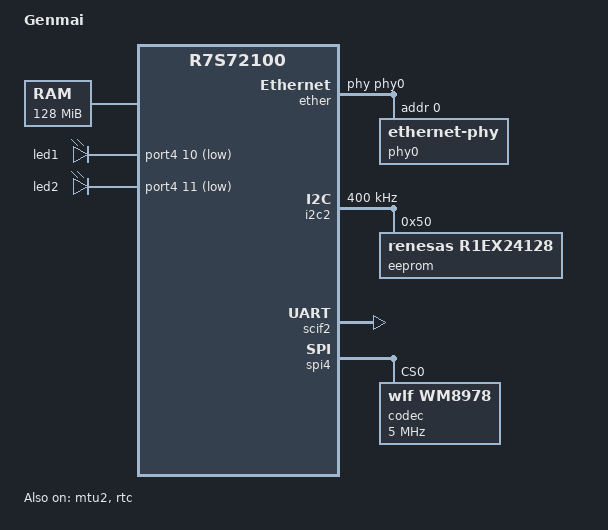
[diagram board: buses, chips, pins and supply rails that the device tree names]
/*
 * Device Tree Source for the Genmai board
 *
 * Copyright (C) 2013-14 Renesas Solutions Corp.
 * Copyright (C) 2014 Wolfram Sang, Sang Engineering <wsa@sang-engineering.com>
 *
 * This file is licensed under the terms of the GNU General Public License
 * version 2.  This program is licensed "as is" without any warranty of any
 * kind, whether express or implied.
 */

/dts-v1/;
#include "r7s72100.dtsi"
#include <dt-bindings/gpio/gpio.h>
#include <dt-bindings/pinctrl/r7s72100-pinctrl.h>

/ {
	model = "Genmai";
	compatible = "renesas,genmai", "renesas,r7s72100";

	aliases {
		serial0 = &scif2;
	};

	chosen {
		bootargs = "ignore_loglevel rw root=/dev/nfs ip=dhcp";
		stdout-path = "serial0:115200n8";
	};

	memory@8000000 {
		device_type = "memory";
		reg = <0x08000000 0x08000000>;
	};

	lbsc {
		#address-cells = <1>;
		#size-cells = <1>;
	};

	leds {
		status = "okay";
		compatible = "gpio-leds";

		led1 {
			gpios = <&port4 10 GPIO_ACTIVE_LOW>;
		};

		led2 {
			gpios = <&port4 11 GPIO_ACTIVE_LOW>;
		};
	};
};

&pinctrl {

	scif2_pins: serial2 {
		/* P3_0 as TxD2; P3_2 as RxD2 */
		pinmux = <RZA1_PINMUX(3, 0, 6)>, <RZA1_PINMUX(3, 2, 4)>;
	};

	i2c2_pins: i2c2 {
		/* RIIC2: P1_4 as SCL, P1_5 as SDA */
		pinmux = <RZA1_PINMUX(1, 4, 1)>, <RZA1_PINMUX(1, 5, 1)>;
	};

	ether_pins: ether {
		/* Ethernet on Ports 1,2,3,5 */
		pinmux = <RZA1_PINMUX(1, 14, 4)>,/* P1_14 = ET_COL  */
			 <RZA1_PINMUX(5, 9, 2)>, /* P5_9 = ET_MDC   */
			 <RZA1_PINMUX(3, 3, 2)>, /* P3_3 = ET_MDIO */
			 <RZA1_PINMUX(3, 4, 2)>, /* P3_4 = ET_RXCLK */
			 <RZA1_PINMUX(3, 5, 2)>, /* P3_5 = ET_RXER  */
			 <RZA1_PINMUX(3, 6, 2)>, /* P3_6 = ET_RXDV  */
			 <RZA1_PINMUX(2, 0, 2)>, /* P2_0 = ET_TXCLK */
			 <RZA1_PINMUX(2, 1, 2)>, /* P2_1 = ET_TXER  */
			 <RZA1_PINMUX(2, 2, 2)>, /* P2_2 = ET_TXEN  */
			 <RZA1_PINMUX(2, 3, 2)>, /* P2_3 = ET_CRS   */
			 <RZA1_PINMUX(2, 4, 2)>, /* P2_4 = ET_TXD0  */
			 <RZA1_PINMUX(2, 5, 2)>, /* P2_5 = ET_TXD1  */
			 <RZA1_PINMUX(2, 6, 2)>, /* P2_6 = ET_TXD2  */
			 <RZA1_PINMUX(2, 7, 2)>, /* P2_7 = ET_TXD3  */
			 <RZA1_PINMUX(2, 8, 2)>, /* P2_8 = ET_RXD0  */
			 <RZA1_PINMUX(2, 9, 2)>, /* P2_9 = ET_RXD1  */
			 <RZA1_PINMUX(2, 10, 2)>,/* P2_10 = ET_RXD2 */
			 <RZA1_PINMUX(2, 11, 2)>;/* P2_11 = ET_RXD3 */
	};
};

&extal_clk {
	clock-frequency = <13330000>;
};

&usb_x1_clk {
	clock-frequency = <48000000>;
};

&rtc_x1_clk {
	clock-frequency = <32768>;
};

&mtu2 {
	status = "okay";
};

&ether {
	pinctrl-names = "default";
	pinctrl-0 = <&ether_pins>;

	status = "okay";

	renesas,no-ether-link;
	phy-handle = <&phy0>;
	phy0: ethernet-phy@0 {
		reg = <0>;
	};
};

&i2c2 {
	status = "okay";
	clock-frequency = <400000>;

	pinctrl-names = "default";
	pinctrl-0 = <&i2c2_pins>;

	eeprom@50 {
		compatible = "renesas,r1ex24128", "atmel,24c128";
		reg = <0x50>;
		pagesize = <64>;
	};
};

&rtc {
	status = "okay";
};

&scif2 {
	pinctrl-names = "default";
	pinctrl-0 = <&scif2_pins>;

	status = "okay";
};

&spi4 {
	status = "okay";

	codec: codec@0 {
		compatible = "wlf,wm8978";
		reg = <0>;
		spi-max-frequency = <5000000>;
	};
};
